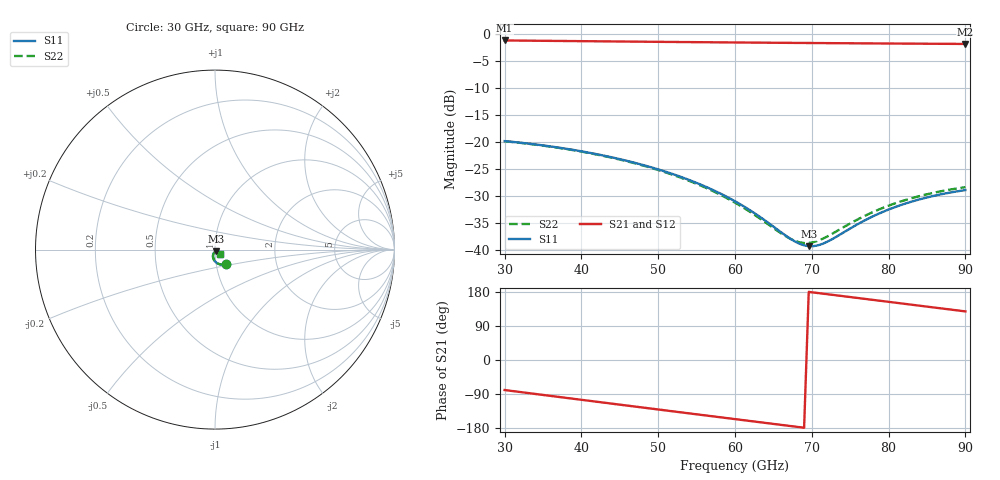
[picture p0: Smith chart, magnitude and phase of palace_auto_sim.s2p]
#  GHZ S DB R 50
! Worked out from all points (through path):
!   101 points, 30 GHz to 90 GHz, reference 50 ohm
!   highest |S21| = -1.25 dB at 30 GHz (marker M1); lowest = -1.9 dB at 90 GHz (marker M2)
!   group delay of S21, straight-line fit = 7.05 ps
!   lowest |S11| = -39.4 dB at 69.6 GHz (marker M3), VSWR 1.02, Z = 50.4 - j1.02 ohm
!   |S11| at or under -10 dB: start of sweep to end of sweep
!   |S22| runs from -38.8 to -19.9 dB; largest |S21 - S12| = 1.5e-13
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30  -19.90 -54.0  -1.25 -79.3  -1.25 -79.3  -19.93 -53.9
34.8  -20.65 -65.0  -1.31 -91.6  -1.31 -91.6  -20.69 -64.8
37.2  -21.13 -70.4  -1.34 -97.8  -1.34 -97.8  -21.18 -70.2
40.2  -21.84 -77.1  -1.38 -105.5  -1.38 -105.5  -21.89 -76.8
45  -23.24 -87.5  -1.44 -117.8  -1.44 -117.8  -23.32 -87.1
50.4  -25.31 -98.3  -1.51 -131.6  -1.51 -131.6  -25.43 -97.7
53.4  -26.76 -103.6  -1.54 -139.2  -1.54 -139.2  -26.91 -102.7
55.8  -28.11 -107.1  -1.57 -145.3  -1.57 -145.3  -28.30 -106.0
60  -31.04 -110.7  -1.62 -156.0  -1.62 -156.0  -31.30 -108.7
63  -33.69 -109.2  -1.65 -163.6  -1.65 -163.6  -33.99 -105.8
66  -36.78 -99.9  -1.68 -171.2  -1.68 -171.2  -36.98 -94.0
67.2  -37.97 -92.4  -1.70 -174.2  -1.70 -174.2  -37.99 -85.4
68.4  -38.91 -82.3  -1.71 -177.2  -1.71 -177.2  -38.65 -74.5
69.6  -39.36 -70.2  -1.72 179.7  -1.72 179.7  -38.77 -62.7
70.2  -39.36 -64.0  -1.72 178.2  -1.72 178.2  -38.62 -57.0
70.8  -39.21 -58.1  -1.73 176.7  -1.73 176.7  -38.36 -51.8
72  -38.55 -47.7  -1.74 173.7  -1.74 173.7  -37.57 -43.0
76.8  -34.66 -29.2  -1.79 161.6  -1.79 161.6  -33.81 -28.5
80.4  -32.35 -28.7  -1.82 152.5  -1.82 152.5  -31.65 -28.8
84.6  -30.48 -33.1  -1.85 141.9  -1.85 141.9  -29.88 -33.6
87  -29.70 -36.8  -1.87 135.8  -1.87 135.8  -29.14 -37.4
90  -28.97 -42.1  -1.89 128.3  -1.89 128.3  -28.43 -42.7
